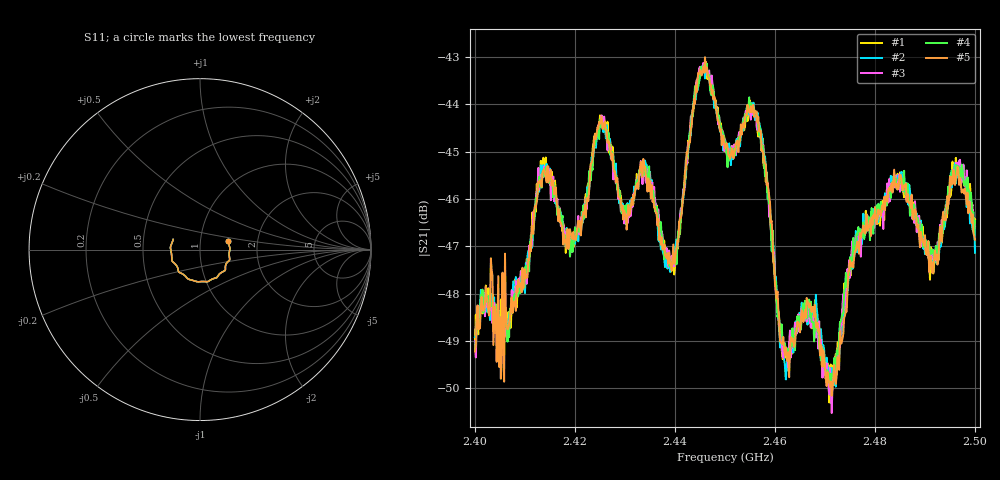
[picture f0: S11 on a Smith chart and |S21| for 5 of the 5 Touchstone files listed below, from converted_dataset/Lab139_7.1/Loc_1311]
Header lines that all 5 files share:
# Hz S RI R 50
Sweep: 2.4 GHz to 2.5 GHz
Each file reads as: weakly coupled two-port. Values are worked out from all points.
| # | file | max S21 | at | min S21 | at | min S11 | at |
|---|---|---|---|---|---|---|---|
| 1 | Lab_139_1Ch1.s2p | -43.10 dB | 2.4462 GHz | -50.3 dB | 2.4708 GHz | -15.6 dB | 2.4805 GHz |
| 2 | Lab_139_4Ch1.s2p | -43.15 dB | 2.4462 GHz | -50.1 dB | 2.471 GHz | -15.6 dB | 2.4802 GHz |
| 3 | Lab_139_5Ch1.s2p | -43.12 dB | 2.4457 GHz | -50.5 dB | 2.4713 GHz | -15.6 dB | 2.4805 GHz |
| 4 | Lab_139_6Ch1.s2p | -43.14 dB | 2.4463 GHz | -50.0 dB | 2.4712 GHz | -15.6 dB | 2.4805 GHz |
| 5 | Lab_139_7Ch1.s2p | -43.00 dB | 2.446 GHz | -50.2 dB | 2.4713 GHz | -15.6 dB | 2.4805 GHz |
